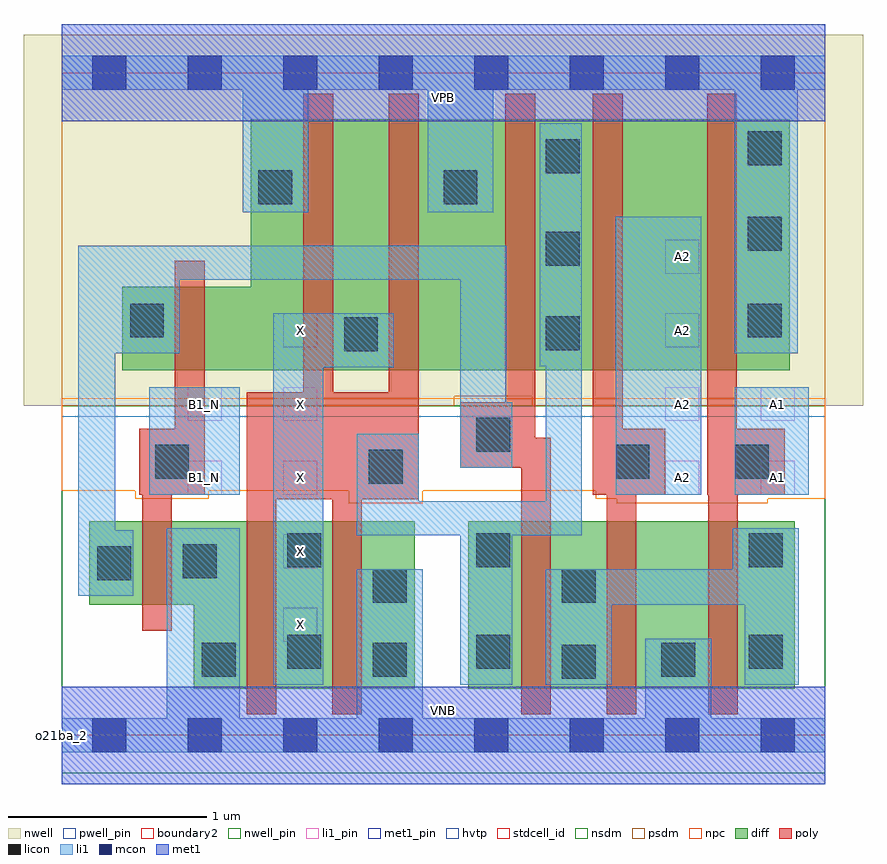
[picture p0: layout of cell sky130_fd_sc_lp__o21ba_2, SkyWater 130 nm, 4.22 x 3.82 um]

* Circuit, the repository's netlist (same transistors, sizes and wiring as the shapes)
* Copyright 2020 The SkyWater PDK Authors
*
* Licensed under the Apache License, Version 2.0 (the "License");
* you may not use this file except in compliance with the License.
* You may obtain a copy of the License at
*
*     https://www.apache.org/licenses/LICENSE-2.0
*
* Unless required by applicable law or agreed to in writing, software
* distributed under the License is distributed on an "AS IS" BASIS,
* WITHOUT WARRANTIES OR CONDITIONS OF ANY KIND, either express or implied.
* See the License for the specific language governing permissions and
* limitations under the License.
*
* SPDX-License-Identifier: Apache-2.0

.SUBCKT sky130_fd_sc_lp__o21ba_2 A1 A2 B1_N VGND VNB VPB VPWR X
*.PININFO A1:I A2:I B1_N:I VGND:I VNB:I VPB:I VPWR:I X:O
MMPA0 VPWR A1 sndA1 VPB sky130_fd_pr__pfet_01v8_hvt m=1 w=1.26U l=0.15U mult=1
+ sa=0.265 sb=0.265 sd=0.28 area=0.063 perim=1.14
MMPA1 sndA1 A2 y VPB sky130_fd_pr__pfet_01v8_hvt m=1 w=1.26U l=0.15U mult=1 sa=0.265
+ sb=0.265 sd=0.28 area=0.063 perim=1.14
MMPB0 VPWR B1 y VPB sky130_fd_pr__pfet_01v8_hvt m=1 w=1.26U l=0.15U mult=1 sa=0.265
+ sb=0.265 sd=0.28 area=0.063 perim=1.14
MMIPB1N B1 B1_N VPWR VPB sky130_fd_pr__pfet_01v8_hvt m=1 w=0.42U l=0.15U mult=1
+ sa=0.265 sb=0.265 sd=0.28 area=0.063 perim=1.14
MMIPX X y VPWR VPB sky130_fd_pr__pfet_01v8_hvt m=2 w=1.26U l=0.15U mult=1 sa=0.265
+ sb=0.265 sd=0.28 area=0.063 perim=1.14
MMNA0 pndA A1 VGND VNB sky130_fd_pr__nfet_01v8 m=1 w=0.84U l=0.15U mult=1 sa=0.265
+ sb=0.265 sd=0.28 area=0.063 perim=1.14
MMNA1 pndA A2 VGND VNB sky130_fd_pr__nfet_01v8 m=1 w=0.84U l=0.15U mult=1 sa=0.265
+ sb=0.265 sd=0.28 area=0.063 perim=1.14
MMNB0 y B1 pndA VNB sky130_fd_pr__nfet_01v8 m=1 w=0.84U l=0.15U mult=1 sa=0.265
+ sb=0.265 sd=0.28 area=0.063 perim=1.14
MMINB1N B1 B1_N VGND VNB sky130_fd_pr__nfet_01v8 m=1 w=0.42U l=0.15U mult=1 sa=0.265
+ sb=0.265 sd=0.28 area=0.063 perim=1.14
MMINX X y VGND VNB sky130_fd_pr__nfet_01v8 m=2 w=0.84U l=0.15U mult=1 sa=0.265
+ sb=0.265 sd=0.28 area=0.063 perim=1.14
.ENDS sky130_fd_sc_lp__o21ba_2

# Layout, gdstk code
import gdstk
lib = gdstk.Library(unit=1e-6, precision=1e-09)
def R(c, l, rs):  # rectangles x0, y0, x1, y1
    for r in rs: c.add(gdstk.rectangle(r[:2], r[2:], *l))
def A(c, l, x, y, w, h, nx, ny, dx, dy):  # array of equal rectangles
    R(c, l, [(x+i*dx, y+j*dy, x+i*dx+w, y+j*dy+h) for i in range(nx) for j in range(ny)])
def P(c, l, *ps):  # polygons
    for p in ps: c.add(gdstk.Polygon(p, *l))
nwell_pin = (64, 16)
nwell = (64, 20)
diff = (65, 20)
poly = (66, 20)
licon = (66, 44)
li1_pin = (67, 16)
li1 = (67, 20)
mcon = (67, 44)
met1_pin = (68, 16)
met1 = (68, 20)
hvtp = (78, 44)
stdcell_id = (81, 4)
nsdm = (93, 44)
psdm = (94, 20)
npc = (95, 20)
pwell_pin = (122, 16)
boundary2 = (236, 0)

sky130_fd_sc_lp__o21ba_2 = lib.new_cell('sky130_fd_sc_lp__o21ba_2')
R(sky130_fd_sc_lp__o21ba_2, nwell_pin, [(0,3.085,3.84,3.33)])
R(sky130_fd_sc_lp__o21ba_2, nwell, [(-0.19,1.655,4.03,3.52)])
R(sky130_fd_sc_lp__o21ba_2, diff, [(2.045,0.235,3.685,1.075)])
P(sky130_fd_sc_lp__o21ba_2, diff, [(1.775,1.075),(0.14,1.075),(0.14,0.655),(0.665,0.655),(0.665,0.235),(1.775,0.235)],
  [(3.66,3.095),(0.95,3.095),(0.95,2.255),(0.305,2.255),(0.305,1.835),(3.66,1.835)])
P(sky130_fd_sc_lp__o21ba_2, poly, [(0.72,2.385),(0.57,2.385),(0.57,1.54),(0.39,1.54),(0.39,1.21),(0.405,1.21),(0.405,0.525),(0.555,0.525),(0.555,1.21),(0.72,1.21)],
  [(1.795,3.225),(1.645,3.225),(1.645,1.725),(1.365,1.725),(1.365,3.225),(1.215,3.225),(1.215,1.725),(0.93,1.725),(0.93,0.105),(1.08,0.105),(1.08,1.185),(1.36,1.185),(1.36,0.105),(1.51,0.105),(1.51,1.185),(1.795,1.185)],
  [(2.46,1.495),(2.38,1.495),(2.38,3.225),(2.23,3.225),(2.23,1.675),(2.005,1.675),(2.005,1.345),(2.31,1.345),(2.31,0.105),(2.46,0.105)],
  [(3.035,1.54),(2.82,1.54),(2.82,3.225),(2.67,3.225),(2.67,1.21),(2.74,1.21),(2.74,0.105),(2.89,0.105),(2.89,1.21),(3.035,1.21)],
  [(3.635,1.54),(3.395,1.54),(3.395,3.225),(3.245,3.225),(3.245,1.21),(3.25,1.21),(3.25,0.105),(3.4,0.105),(3.4,1.21),(3.635,1.21)])
R(sky130_fd_sc_lp__o21ba_2, licon, [(2.515,0.285,2.685,0.455), (0.705,0.295,0.875,0.465), (1.565,0.295,1.735,0.465), (3.015,0.295,3.185,0.465), (1.135,0.335,1.305,0.505), (2.085,0.335,2.255,0.505), (3.455,0.335,3.625,0.505), (1.565,0.665,1.735,0.835), (2.515,0.665,2.685,0.835), (0.18,0.78,0.35,0.95), (0.61,0.79,0.78,0.96), (1.135,0.845,1.305,1.015), (2.085,0.845,2.255,1.015), (3.455,0.845,3.625,1.015), (1.545,1.265,1.715,1.435), (0.47,1.29,0.64,1.46), (2.785,1.29,2.955,1.46), (3.385,1.29,3.555,1.46), (2.085,1.425,2.255,1.595), (1.42,1.93,1.59,2.1), (2.435,1.935,2.605,2.105), (0.345,2,0.515,2.17), (3.45,2,3.62,2.17), (2.435,2.36,2.605,2.53), (3.45,2.435,3.62,2.605), (0.99,2.67,1.16,2.84), (1.92,2.67,2.09,2.84), (2.435,2.825,2.605,2.995), (3.45,2.865,3.62,3.035)])
A(sky130_fd_sc_lp__o21ba_2, li1_pin, 1.115, 0.47, 0.17, 0.17, 1, 5, 0, 0.37)
A(sky130_fd_sc_lp__o21ba_2, li1_pin, 3.035, 1.21, 0.17, 0.17, 1, 4, 0, 0.37)
R(sky130_fd_sc_lp__o21ba_2, li1_pin, [(0.635,1.21,0.805,1.38), (3.515,1.21,3.685,1.38), (0.635,1.58,0.805,1.75), (3.515,1.58,3.685,1.75)])
R(sky130_fd_sc_lp__o21ba_2, li1, [(0.44,1.21,0.895,1.75), (2.785,1.21,3.215,2.605), (3.385,1.21,3.755,1.75)])
P(sky130_fd_sc_lp__o21ba_2, li1, [(0.91,2.63),(0.91,3.245),(0,3.245),(0,3.415),(3.84,3.415),(3.84,3.245),(3.7,3.245),(3.7,1.92),(3.385,1.92),(3.385,3.245),(2.17,3.245),(2.17,2.63),(1.84,2.63),(1.84,3.245),(1.24,3.245),(1.24,2.63)],
  [(1.485,0.085),(1.485,0.835),(1.815,0.835),(1.815,0.085),(2.935,0.085),(2.935,0.485),(3.265,0.485),(3.265,0.085),(3.84,0.085),(3.84,-0.085),(0,-0.085),(0,0.085),(0.53,0.085),(0.53,1.04),(0.895,1.04),(0.895,0.085)],
  [(2.005,2.29),(0.595,2.29),(0.595,1.92),(0.27,1.92),(0.27,1.03),(0.36,1.03),(0.36,0.7),(0.085,0.7),(0.085,2.46),(2.235,2.46),(2.235,1.675),(2.265,1.675),(2.265,1.345),(2.005,1.345)],
  [(2.435,1.175),(2.435,1.855),(2.405,1.855),(2.405,3.075),(2.615,3.075),(2.615,1.005),(2.265,1.005),(2.265,0.255),(2.005,0.255),(2.005,1.005),(1.485,1.005),(1.485,1.515),(1.795,1.515),(1.795,1.175)],
  [(1.065,0.255),(1.065,2.12),(1.67,2.12),(1.67,1.85),(1.315,1.85),(1.315,0.255)],
  [(3.435,0.655),(2.765,0.655),(2.765,0.255),(2.435,0.255),(2.435,0.835),(3.375,0.835),(3.375,1.04),(3.705,1.04),(3.705,0.255),(3.435,0.255)])
A(sky130_fd_sc_lp__o21ba_2, mcon, 0.155, -0.085, 0.17, 0.17, 8, 2, 0.48, 3.33)
R(sky130_fd_sc_lp__o21ba_2, met1_pin, [(0,0,3.84,0.245), (0,3.085,3.84,3.33)])
R(sky130_fd_sc_lp__o21ba_2, met1, [(0,-0.245,3.84,0.245), (0,3.085,3.84,3.575)])
R(sky130_fd_sc_lp__o21ba_2, hvtp, [(0,1.6,3.84,3.33)])
R(sky130_fd_sc_lp__o21ba_2, stdcell_id, [(0,0,3.84,3.33)])
R(sky130_fd_sc_lp__o21ba_2, nsdm, [(0,-0.19,3.84,1.655)])
P(sky130_fd_sc_lp__o21ba_2, psdm, [(3.84,3.52),(0,3.52),(0,1.655),(1.975,1.655),(1.975,1.705),(2.365,1.705),(2.365,1.655),(3.84,1.655)])
P(sky130_fd_sc_lp__o21ba_2, npc, [(3.84,1.695),(0,1.695),(0,1.23),(0.37,1.23),(0.37,1.19),(0.74,1.19),(0.74,1.23),(1.445,1.23),(1.445,1.165),(1.815,1.165),(1.815,1.23),(2.685,1.23),(2.685,1.19),(2.79,1.19),(2.79,1.165),(3.55,1.165),(3.55,1.19),(3.84,1.19)])
R(sky130_fd_sc_lp__o21ba_2, pwell_pin, [(0,0,3.84,0.245)])
R(sky130_fd_sc_lp__o21ba_2, boundary2, [(0,0,3.84,3.33)])
sky130_fd_sc_lp__o21ba_2.add(gdstk.Label('VNB', (1.92,0.123), layer=64, texttype=59))
sky130_fd_sc_lp__o21ba_2.add(gdstk.Label('VPB', (1.92,3.208), layer=64, texttype=5))
sky130_fd_sc_lp__o21ba_2.add(gdstk.Label('o21ba_2', (0,0), layer=83, texttype=44))
sky130_fd_sc_lp__o21ba_2.add(gdstk.Label('VPWR', (1.92,3.208), layer=68, texttype=5))
sky130_fd_sc_lp__o21ba_2.add(gdstk.Label('VGND', (1.92,0.123), layer=68, texttype=5))
sky130_fd_sc_lp__o21ba_2.add(gdstk.Label('A1', (3.6,1.295), layer=67, texttype=5))
sky130_fd_sc_lp__o21ba_2.add(gdstk.Label('A1', (3.6,1.665), layer=67, texttype=5))
sky130_fd_sc_lp__o21ba_2.add(gdstk.Label('A2', (3.12,1.295), layer=67, texttype=5))
sky130_fd_sc_lp__o21ba_2.add(gdstk.Label('A2', (3.12,1.665), layer=67, texttype=5))
sky130_fd_sc_lp__o21ba_2.add(gdstk.Label('A2', (3.12,2.035), layer=67, texttype=5))
sky130_fd_sc_lp__o21ba_2.add(gdstk.Label('A2', (3.12,2.405), layer=67, texttype=5))
sky130_fd_sc_lp__o21ba_2.add(gdstk.Label('B1_N', (0.72,1.295), layer=67, texttype=5))
sky130_fd_sc_lp__o21ba_2.add(gdstk.Label('B1_N', (0.72,1.665), layer=67, texttype=5))
sky130_fd_sc_lp__o21ba_2.add(gdstk.Label('X', (1.2,0.555), layer=67, texttype=5))
sky130_fd_sc_lp__o21ba_2.add(gdstk.Label('X', (1.2,0.925), layer=67, texttype=5))
sky130_fd_sc_lp__o21ba_2.add(gdstk.Label('X', (1.2,1.295), layer=67, texttype=5))
sky130_fd_sc_lp__o21ba_2.add(gdstk.Label('X', (1.2,1.665), layer=67, texttype=5))
sky130_fd_sc_lp__o21ba_2.add(gdstk.Label('X', (1.2,2.035), layer=67, texttype=5))

lib.write_gds('sky130_fd_sc_lp__o21ba_2.gds')
